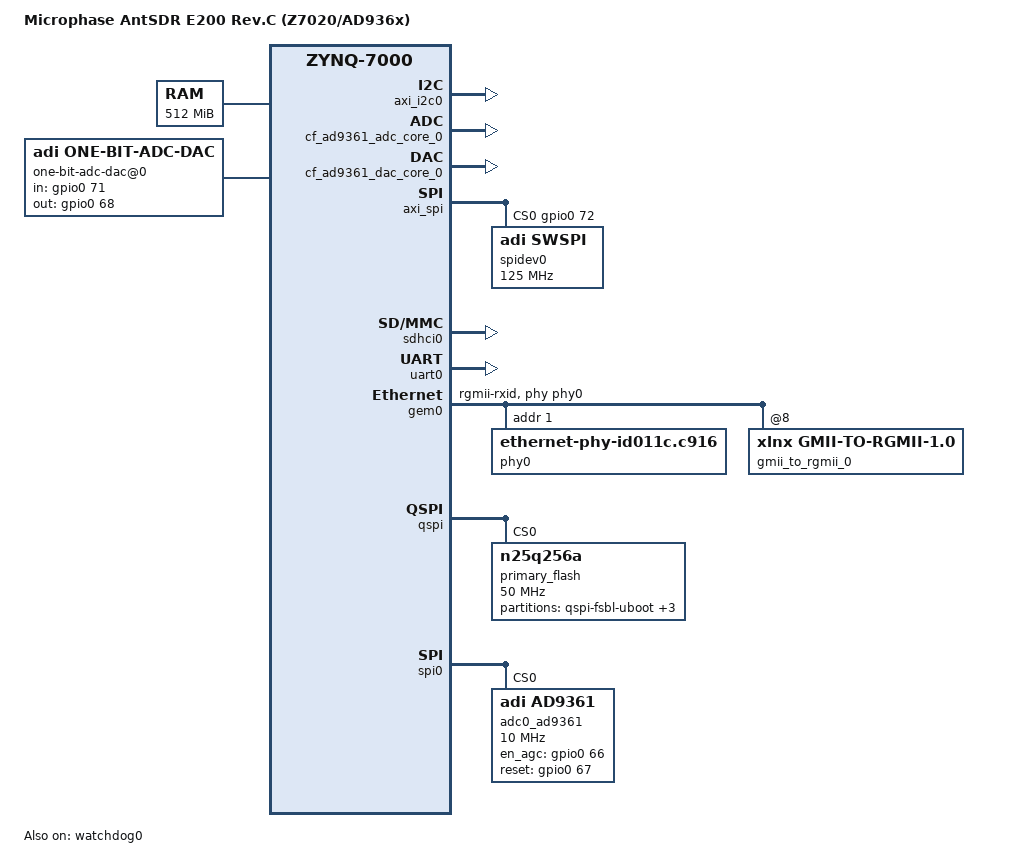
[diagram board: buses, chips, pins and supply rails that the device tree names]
// SPDX-License-Identifier: GPL-2.0
#include "zynq.dtsi"
#include <dt-bindings/input/input.h>
#include <dt-bindings/gpio/gpio.h>
#include <dt-bindings/interrupt-controller/irq.h>

#define AD9361_EXT_BAND_CTL_SHORTHANDS
#include <dt-bindings/iio/adc/adi,ad9361.h>

/ {
	model = "Microphase AntSDR E200 Rev.C (Z7020/AD936x)";
	compatible = "microphase,e200revc", "xlnx,zynq-7000";

	aliases {
		ethernet0 = &gem0;
		serial0 = &uart0;
		spi0 = &qspi;
		mmc0 = &sdhci0;
	};

	memory {
		device_type = "memory";
		reg = <0x00000000 0x20000000>;
	};


	chosen {
		linux,stdout-path = &uart0;
		stdout-path = &uart0;
	};

	clocks {
		ad9361_clkin: clock@0 {
			#clock-cells = <0>;
			compatible = "fixed-clock";
			clock-frequency = <40000000>;
			clock-accuracy = <200000>; /* 200 ppm (ppb) */
			clock-output-names = "ad9361_refclk";
		};

		ext_clkin: clock@1 {
			#clock-cells = <0>;
			compatible = "adjustable-clock";
			clock-frequency = <10000000>;
			clock-accuracy = <100>; /* 0.1 ppm (ppb) */
			clock-output-names = "ext_refclk";
		};
	};

	one-bit-adc-dac@0 {
		compatible = "adi,one-bit-adc-dac";

		#address-cells = <1>;
		#size-cells = <0>;

		in-gpios = <&gpio0 71 GPIO_ACTIVE_HIGH>;
		out-gpios = <&gpio0 68 GPIO_ACTIVE_HIGH>;

		channel@0 {
			reg = <0>;
			label = "muxout";
		};

		channel@1 {
			reg = <1>;
			label = "phaser_enable";
		};
	};
};

&usb0 {
	status = "disabled";
};

&sdhci0 {
	status = "okay";
	xlnx,has-cd = <0x0>;
	xlnx,has-power = <0x0>;
	xlnx,has-wp = <0x0>;
};

&watchdog0 {
	status = "okay";
	reset-on-timeout;
};

&uart0 {
	status = "okay";
};

&uart1 {
	status = "disabled";
};

&gem0 {
	status = "okay";

	phy-handle = <&phy0>;
	phy-mode = "rgmii-rxid";
	xlnx,has-mdio = <0x1>;
	gmii2rgmii-phy-handle = <&gmii_to_rgmii_0>;

	phy0: phy@1 {
		compatible = "ethernet-phy-id011c.c916";
		device_type = "ethernet-phy";
		reg = <0x1>;
	};

	gmii_to_rgmii_0: gmiitorgmii@8 {
		compatible = "xlnx,gmii-to-rgmii-1.0";
		reg = <0x8>;
		phy-handle = <&phy0>;
	};
};

&qspi {
	status = "okay";
	is-dual = <0>;
	num-cs = <1>;
	primary_flash: ps7-qspi@0 {
		#address-cells = <1>;
		#size-cells = <1>;
		spi-tx-bus-width = <1>;
		spi-rx-bus-width = <4>;
		compatible = "n25q256a", "n25q512a", "jedec,spi-nor"; /* same as S25FL256 */
		reg = <0x0>;
		spi-max-frequency = <50000000>;
		partition@qspi-fsbl-uboot {
			label = "qspi-fsbl-uboot";
			reg = <0x0 0x100000>; /* 1M */
		};
		partition@qspi-uboot-env {
			label = "qspi-uboot-env";
			reg = <0x100000 0x20000>; /* 128k */
		};
		partition@qspi-nvmfs {
			label = "qspi-nvmfs";
			reg = <0x120000 0xE0000>; /* 1M */
		};
		partition@qspi-linux {
			label = "qspi-linux";
			reg = <0x200000 0x1E00000>; /* 30M */
		};
	};
};

&adc {
	xlnx,channels {
		#address-cells = <1>;
		#size-cells = <0>;
		channel@0 {
			reg = <0>;
		};
	};
};

/ {
	fpga_axi: fpga-axi@0 {
		compatible = "simple-bus";
		#address-cells = <0x1>;
		#size-cells = <0x1>;
		ranges;

		axi_i2c0: i2c@41600000 {
			compatible = "xlnx,axi-iic-1.02.a", "xlnx,xps-iic-2.00.a";
			reg = <0x41600000 0x10000>;
			interrupt-parent = <&intc>;
			interrupts = <0 59 IRQ_TYPE_LEVEL_HIGH>;
			clocks = <&clkc 15>;
			clock-names = "pclk";

			#address-cells = <1>;
			#size-cells = <0>;
		};

		rx_dma: dma@7c400000 {
			compatible = "adi,axi-dmac-1.00.a";
			reg = <0x7c400000 0x1000>;
			#dma-cells = <1>;
			interrupts = <0 57 IRQ_TYPE_LEVEL_HIGH>;
			clocks = <&clkc 16>;

			adi,channels {
				#size-cells = <0>;
				#address-cells = <1>;

				dma-channel@0 {
					reg = <0>;
					adi,source-bus-width = <32>;
					adi,source-bus-type = <2>;
					adi,destination-bus-width = <64>;
					adi,destination-bus-type = <0>;
				};
			};
		};

		tx_dma: dma@7c420000 {
			compatible = "adi,axi-dmac-1.00.a";
			reg = <0x7c420000 0x1000>;
			#dma-cells = <1>;
			interrupts = <0 56 IRQ_TYPE_LEVEL_HIGH>;
			clocks = <&clkc 16>;

			adi,channels {
				#size-cells = <0>;
				#address-cells = <1>;

				dma-channel@0 {
					reg = <0>;
					adi,source-bus-width = <64>;
					adi,source-bus-type = <0>;
					adi,destination-bus-width = <32>;
					adi,destination-bus-type = <2>;
				};
			};
		};

		cf_ad9361_adc_core_0: cf-ad9361-lpc@79020000 {
			compatible = "adi,axi-ad9361-6.00.a";
			reg = <0x79020000 0x6000>;
			dmas = <&rx_dma 0>;
			dma-names = "rx";
			spibus-connected = <&adc0_ad9361>;
			adi,axi-decimation-core-available;
		};

		cf_ad9361_dac_core_0: cf-ad9361-dds-core-lpc@79024000 {
			compatible = "adi,axi-ad9361-dds-6.00.a";
			reg = <0x79024000 0x1000>;
			clocks = <&adc0_ad9361 13>;
			clock-names = "sampl_clk";
			dmas = <&tx_dma 0>;
			dma-names = "tx";
			adi,axi-interpolation-core-available;
			adi,axi-dds-default-scale = <0>;
		};

		axi_tdd_0: axi-tdd-0@7C440000 {
			compatible = "adi,axi-tdd";
			reg = <0x7C440000 0x10000>;
			clocks = <&clkc 15>, <&adc0_ad9361 20>;
			clock-names = "s_axi_aclk", "intf_clk";
		};

		iio_axi_tdd_0@0 {
			compatible = "adi,iio-fake-platform-device";
			adi,faked-dev = <&axi_tdd_0>;
			adi,attribute-names =
			"version", "core_id", "scratch", "magic",
			"sync_soft", "sync_external", "sync_internal", "sync_reset",
			"enable", "startup_delay_raw", "startup_delay_ms",
			"burst_count", "frame_length_raw", "frame_length_ms",
			"state", "internal_sync_period_raw", "internal_sync_period_ms",
			"out_channel0_enable", "out_channel0_polarity",
			"out_channel0_on_raw", "out_channel0_on_ms",
			"out_channel0_off_raw", "out_channel0_off_ms",
			"out_channel1_enable", "out_channel1_polarity",
			"out_channel1_on_raw", "out_channel1_on_ms",
			"out_channel1_off_raw", "out_channel1_off_ms",
			"out_channel2_enable", "out_channel2_polarity",
			"out_channel2_on_raw", "out_channel2_on_ms",
			"out_channel2_off_raw", "out_channel2_off_ms";
			label = "iio-axi-tdd-0";
		};

		axi_spi: spi@7C430000 {
			#address-cells = <1>;
			#size-cells = <0>;
			bits-per-word = <8>;
			compatible = "xlnx,xps-spi-2.00.a";
			fifo-size = <16>;
			interrupt-parent = <&intc>;
			interrupts = <0 55 IRQ_TYPE_LEVEL_HIGH>;
			cs-gpios = <&gpio0 72 0>;
			num-cs = <0x1>;
			reg = <0x7C430000 0x10000>;
			xlnx,num-ss-bits = <0x1>;
			xlnx,spi-mode = <0>;

			spidev0: spidev@0 {
				compatible = "adi,swspi";
				reg = <0>;  /* CE0 */
				#address-cells = <1>;
				#size-cells = <0>;
				spi-max-frequency = <125000000>;
			};
		};

		axi_vctcxo: mp-vctcxo@43C00000 {
			compatible = "microphase,axi-vctcxo";
			reg = <0x43C00000 0xffff>;
			clocks = <&clkc 15>, <&ext_clkin 0>;
			clock-names = "s_axi_aclk", "ext_refclk";
		};
	};
};

&spi0 {
	status = "okay";

	adc0_ad9361: ad9361-phy@0 {
		#address-cells = <1>;
		#size-cells = <0>;
		#clock-cells = <1>;
		compatible = "adi,ad9361";

		/* SPI Setup */
		reg = <0>;
		spi-cpha;
		spi-max-frequency = <10000000>;

		/* Clocks */
		clocks = <&ad9361_clkin 0>;
		clock-names = "ad9361_refclk";
		clock-output-names = "rx_sampl_clk", "tx_sampl_clk";

		/* Digital Interface Control */

		 /* adi,digital-interface-tune-skip-mode:
		  * 0 = TUNE RX&TX
		  * 1 = SKIP TX
		  * 2 = SKIP ALL
		  */
		//adi,digital-interface-tune-skip-mode = <0>;

		adi,pp-tx-swap-enable;
		adi,pp-rx-swap-enable;
		adi,rx-frame-pulse-mode-enable;

		adi,xo-disable-use-ext-refclk-enable;

		/* Enable CMOS Mode */
		adi,full-port-enable;
		adi,digital-interface-tune-fir-disable;

		adi,digital-interface-tune-skip-mode = <0>; /* TUNE RX & TX */
		adi,tx-fb-clock-delay = <0>;
		adi,tx-data-delay = <9>;
		adi,swap-ports-enable;

		/* Mode Setup */

		//adi,split-gain-table-mode-enable;

		/* ENSM Mode */
		adi,frequency-division-duplex-mode-enable;
		//adi,ensm-enable-pin-pulse-mode-enable;
		//adi,ensm-enable-txnrx-control-enable;


		/* adi,rx-rf-port-input-select:
		 * 0 = (RX1A_N &  RX1A_P) and (RX2A_N & RX2A_P) enabled; balanced
		 * 1 = (RX1B_N &  RX1B_P) and (RX2B_N & RX2B_P) enabled; balanced
		 * 2 = (RX1C_N &  RX1C_P) and (RX2C_N & RX2C_P) enabled; balanced
		 *
		 * 3 = RX1A_N and RX2A_N enabled; unbalanced
		 * 4 = RX1A_P and RX2A_P enabled; unbalanced
		 * 5 = RX1B_N and RX2B_N enabled; unbalanced
		 * 6 = RX1B_P and RX2B_P enabled; unbalanced
		 * 7 = RX1C_N and RX2C_N enabled; unbalanced
		 * 8 = RX1C_P and RX2C_P enabled; unbalanced
		 */

		adi,rx-rf-port-input-select = <0>; /* (RX1A_N &  RX1A_P) and (RX2A_N & RX2A_P) enabled; balanced */
		adi,rx-rf-port-input-select-lock-enable;

		/* adi,tx-rf-port-input-select:
		 * 0	TX1A, TX2A
		 * 1	TX1B, TX2B
		 */

		adi,tx-rf-port-input-select = <0>; /* TX1A, TX2A */
		adi,tx-rf-port-input-select-lock-enable;

		//adi,update-tx-gain-in-alert-enable;
		adi,tx-attenuation-mdB = <10000>;
		adi,tx-lo-powerdown-managed-enable;

		adi,rf-rx-bandwidth-hz = <18000000>;
		adi,rf-tx-bandwidth-hz = <18000000>;
		adi,rx-synthesizer-frequency-hz = /bits/ 64 <2400000000>;
		adi,tx-synthesizer-frequency-hz = /bits/ 64 <2450000000>;

		/*				BBPLL     ADC        R2CLK     R1CLK    CLKRF    RSAMPL  */
		adi,rx-path-clock-frequencies = <983040000 245760000 122880000 61440000 30720000 30720000>;
		/*				BBPLL     DAC        T2CLK     T1CLK    CLKTF    TSAMPL  */
		adi,tx-path-clock-frequencies = <983040000 122880000 122880000 61440000 30720000 30720000>;

		/* Gain Control */

		/* adi,gc-rx[1|2]-mode:
		 * 0 = RF_GAIN_MGC
		 * 1 = RF_GAIN_FASTATTACK_AGC
		 * 2 = RF_GAIN_SLOWATTACK_AGC
		 * 3 = RF_GAIN_HYBRID_AGC
		 */

		adi,gc-rx1-mode = <2>;
		adi,gc-rx2-mode = <2>;
		adi,gc-adc-ovr-sample-size = <4>; /* sum 4 samples */
		adi,gc-adc-small-overload-thresh = <47>; /* sum of squares */
		adi,gc-adc-large-overload-thresh = <58>; /* sum of squares */
		adi,gc-lmt-overload-high-thresh = <800>; /* mV */
		adi,gc-lmt-overload-low-thresh = <704>; /* mV */
		adi,gc-dec-pow-measurement-duration = <8192>; /* 0..524288 Samples */
		adi,gc-low-power-thresh = <24>; /* 0..-64 dBFS vals are set pos */
		//adi,gc-dig-gain-enable;
		//adi,gc-max-dig-gain = <15>;

		/* Manual Gain Control Setup */

		//adi,mgc-rx1-ctrl-inp-enable; /* uncomment to use ctrl inputs */
		//adi,mgc-rx2-ctrl-inp-enable; /* uncomment to use ctrl inputs */
		adi,mgc-inc-gain-step = <2>;
		adi,mgc-dec-gain-step = <2>;

		/* adi,mgc-split-table-ctrl-inp-gain-mode:
		 * (relevant if adi,split-gain-table-mode-enable is set)
		 * 0 = AGC determine this
		 * 1 = only in LPF
		 * 2 = only in LMT
		 */

		adi,mgc-split-table-ctrl-inp-gain-mode = <0>;

		/* Automatic Gain Control Setup */

		adi,agc-attack-delay-extra-margin-us= <1>; /* us */
		adi,agc-outer-thresh-high = <5>; /* -dBFS */
		adi,agc-outer-thresh-high-dec-steps = <2>; /* 0..15 */
		adi,agc-inner-thresh-high = <10>; /* -dBFS */
		adi,agc-inner-thresh-high-dec-steps = <1>; /* 0..7 */
		adi,agc-inner-thresh-low = <12>; /* -dBFS */
		adi,agc-inner-thresh-low-inc-steps = <1>; /* 0..7 */
		adi,agc-outer-thresh-low = <18>; /* -dBFS */
		adi,agc-outer-thresh-low-inc-steps = <2>; /* 0..15 */

		adi,agc-adc-small-overload-exceed-counter = <10>; /* 0..15 */
		adi,agc-adc-large-overload-exceed-counter = <10>; /* 0..15 */
		adi,agc-adc-large-overload-inc-steps = <2>; /* 0..15 */
		//adi,agc-adc-lmt-small-overload-prevent-gain-inc-enable;
		adi,agc-lmt-overload-large-exceed-counter = <10>; /* 0..15 */
		adi,agc-lmt-overload-small-exceed-counter = <10>; /* 0..15 */
		adi,agc-lmt-overload-large-inc-steps = <2>; /* 0..7 */
		//adi,agc-dig-saturation-exceed-counter = <3>; /* 0..15 */
		//adi,agc-dig-gain-step-size = <4>; /* 1..8 */

		//adi,agc-sync-for-gain-counter-enable;
		adi,agc-gain-update-interval-us = <1000>;  /* 1ms */
		//adi,agc-immed-gain-change-if-large-adc-overload-enable;
		//adi,agc-immed-gain-change-if-large-lmt-overload-enable;

		/* Fast AGC */

		adi,fagc-dec-pow-measurement-duration = <64>; /* 64 Samples */
		//adi,fagc-allow-agc-gain-increase-enable;
		adi,fagc-lp-thresh-increment-steps = <1>;
		adi,fagc-lp-thresh-increment-time = <5>;

		adi,fagc-energy-lost-stronger-sig-gain-lock-exit-cnt = <8>;
		adi,fagc-final-overrange-count = <3>;
		//adi,fagc-gain-increase-after-gain-lock-enable;
		adi,fagc-gain-index-type-after-exit-rx-mode = <0>;
		adi,fagc-lmt-final-settling-steps = <1>;
		adi,fagc-lock-level = <10>;
		adi,fagc-lock-level-gain-increase-upper-limit = <5>;
		adi,fagc-lock-level-lmt-gain-increase-enable;

		adi,fagc-lpf-final-settling-steps = <1>;
		adi,fagc-optimized-gain-offset = <5>;
		adi,fagc-power-measurement-duration-in-state5 = <64>;
		adi,fagc-rst-gla-engergy-lost-goto-optim-gain-enable;
		adi,fagc-rst-gla-engergy-lost-sig-thresh-exceeded-enable;
		adi,fagc-rst-gla-engergy-lost-sig-thresh-below-ll = <10>;
		adi,fagc-rst-gla-en-agc-pulled-high-enable;
		adi,fagc-rst-gla-if-en-agc-pulled-high-mode = <0>;
		adi,fagc-rst-gla-large-adc-overload-enable;
		adi,fagc-rst-gla-large-lmt-overload-enable;
		adi,fagc-rst-gla-stronger-sig-thresh-above-ll = <10>;
		adi,fagc-rst-gla-stronger-sig-thresh-exceeded-enable;
		adi,fagc-state-wait-time-ns = <260>;
		adi,fagc-use-last-lock-level-for-set-gain-enable;

		adi,gc-use-rx-fir-out-for-dec-pwr-meas-enable;

		/* RSSI */

		/* adi,rssi-restart-mode:
		 * 0 = AGC_IN_FAST_ATTACK_MODE_LOCKS_THE_GAIN,
		 * 1 = EN_AGC_PIN_IS_PULLED_HIGH,
		 * 2 = ENTERS_RX_MODE,
		 * 3 = GAIN_CHANGE_OCCURS,
		 * 4 = SPI_WRITE_TO_REGISTER,
		 * 5 = GAIN_CHANGE_OCCURS_OR_EN_AGC_PIN_PULLED_HIGH,
		 */
		adi,rssi-restart-mode = <3>;
		//adi,rssi-unit-is-rx-samples-enable;
		adi,rssi-delay = <1>; /* 1us */
		adi,rssi-wait = <1>; /* 1us */
		adi,rssi-duration = <1000>; /* 1ms */

		/* Control Outputs */
		adi,ctrl-outs-index = <0>;
		adi,ctrl-outs-enable-mask = <0xFF>;

		/* AuxADC Temp Sense Control */

		adi,temp-sense-measurement-interval-ms = <1000>;
		adi,temp-sense-offset-signed = <0xCE>;
		adi,temp-sense-periodic-measurement-enable;

		/* AuxDAC Control */

		adi,aux-dac-manual-mode-enable;

		adi,aux-dac1-default-value-mV = <0>;
		//adi,aux-dac1-active-in-rx-enable;
		//adi,aux-dac1-active-in-tx-enable;
		//adi,aux-dac1-active-in-alert-enable;
		adi,aux-dac1-rx-delay-us = <0>;
		adi,aux-dac1-tx-delay-us = <0>;

		adi,aux-dac2-default-value-mV = <0>;
		//adi,aux-dac2-active-in-rx-enable;
		//adi,aux-dac2-active-in-tx-enable;
		//adi,aux-dac2-active-in-alert-enable;
		adi,aux-dac2-rx-delay-us = <0>;
		adi,aux-dac2-tx-delay-us = <0>;

		/* Control GPIOs */

		en_agc-gpios = <&gpio0 66 0>;
		reset-gpios = <&gpio0 67 GPIO_ACTIVE_HIGH>;
	};
};
// vim:ts=2 sw=2 tw=120 noet
